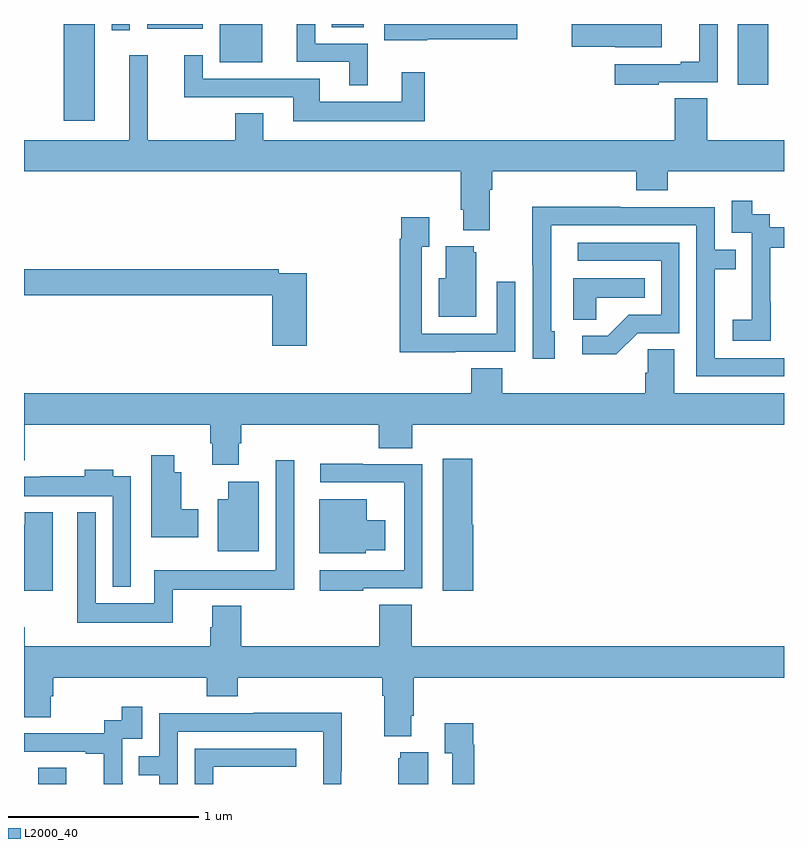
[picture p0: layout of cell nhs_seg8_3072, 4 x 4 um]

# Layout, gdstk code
import gdstk
lib = gdstk.Library(unit=1e-6, precision=1e-09)
def R(c, l, rs):  # rectangles x0, y0, x1, y1
    for r in rs: c.add(gdstk.rectangle(r[:2], r[2:], *l))
def P(c, l, *ps):  # polygons
    for p in ps: c.add(gdstk.Polygon(p, *l))
L2000_40 = (2000, 40)

nhs_seg8_3072 = lib.new_cell('nhs_seg8_3072')
R(nhs_seg8_3072, L2000_40, [(301.074,1155.9,301.222,1155.985), (301.208,1159.392,301.372,1159.9), (304.757,1159.581,304.918,1159.9), (302.03,1159.7,302.254,1159.9), (301.461,1159.866,301.557,1159.9), (301.649,1159.874,301.942,1159.9), (302.621,1159.882,302.788,1159.9)])
P(nhs_seg8_3072, L2000_40, [(304.34,1159.593),(304.65,1159.593),(304.65,1159.9),(304.553,1159.9),(304.553,1159.702),(304.457,1159.702),(304.457,1159.689),(304.11,1159.689),(304.11,1159.581),(304.34,1159.581)],
  [(304.357,1159.9),(303.882,1159.9),(303.882,1159.781),(304.113,1159.781),(304.113,1159.778),(304.357,1159.778)],
  [(303.123,1159.82),(303.595,1159.82),(303.595,1159.9),(302.897,1159.9),(302.897,1159.814),(303.123,1159.814)],
  [(302.809,1159.797),(302.532,1159.797),(302.532,1159.9),(302.435,1159.9),(302.435,1159.701),(302.711,1159.701),(302.711,1159.577),(302.809,1159.577)],
  [(303.109,1159.645),(302.987,1159.645),(302.987,1159.492),(302.557,1159.492),(302.557,1159.611),(301.941,1159.611),(301.941,1159.735),(301.844,1159.735),(301.844,1159.515),(302.417,1159.515),(302.417,1159.388),(303.109,1159.388)],
  [(303.451,1159.028),(303.464,1159.028),(303.464,1159.124),(304.223,1159.124),(304.223,1159.025),(304.388,1159.025),(304.388,1159.124),(305,1159.124),(305,1159.288),(304.595,1159.288),(304.595,1159.508),(304.424,1159.508),(304.424,1159.288),(302.26,1159.288),(302.26,1159.43),(302.113,1159.43),(302.113,1159.288),(301.652,1159.288),(301.652,1159.735),(301.553,1159.735),(301.553,1159.288),(301,1159.288),(301,1159.124),(303.299,1159.124),(303.299,1158.922),(303.311,1158.922),(303.311,1158.815),(303.451,1158.815)],
  [(304.929,1158.439),(304.928,1158.439),(304.928,1158.723),(305,1158.723),(305,1158.831),(304.926,1158.831),(304.926,1158.9),(304.834,1158.9),(304.834,1158.97),(304.725,1158.97),(304.725,1158.801),(304.83,1158.801),(304.83,1158.572),(304.829,1158.572),(304.829,1158.343),(304.731,1158.343),(304.731,1158.233),(304.929,1158.233)],
  [(305,1158.141),(304.635,1158.141),(304.635,1158.61),(304.745,1158.61),(304.745,1158.711),(304.635,1158.711),(304.635,1158.936),(304.139,1158.936),(304.139,1158.938),(303.676,1158.938),(303.676,1158.631),(303.678,1158.631),(303.678,1158.138),(303.793,1158.138),(303.793,1158.282),(303.774,1158.282),(303.774,1158.84),(304.539,1158.84),(304.539,1158.045),(305,1158.045)],
  [(303.269,1158.174),(303.585,1158.174),(303.585,1158.544),(303.489,1158.544),(303.489,1158.27),(303.093,1158.27),(303.093,1158.727),(303.133,1158.727),(303.133,1158.883),(302.985,1158.883),(302.985,1158.77),(302.977,1158.77),(302.977,1158.173),(303.269,1158.173)],
  [(304.23,1158.273),(304.449,1158.273),(304.449,1158.75),(303.915,1158.75),(303.915,1158.654),(304.353,1158.654),(304.353,1158.369),(304.184,1158.369),(304.073,1158.258),(303.939,1158.258),(303.939,1158.161),(304.117,1158.161)],
  [(303.379,1158.699),(303.368,1158.699),(303.368,1158.73),(303.221,1158.73),(303.221,1158.562),(303.182,1158.562),(303.182,1158.359),(303.379,1158.359)],
  [(302.489,1158.588),(302.342,1158.588),(302.342,1158.608),(301,1158.608),(301,1158.472),(302.306,1158.472),(302.306,1158.207),(302.489,1158.207)],
  [(304.011,1158.458),(304.268,1158.458),(304.268,1158.562),(303.89,1158.562),(303.89,1158.343),(304.011,1158.343)],
  [(302.131,1157.694),(302.144,1157.694),(302.144,1157.792),(302.867,1157.792),(302.867,1157.668),(303.044,1157.668),(303.044,1157.792),(305,1157.792),(305,1157.956),(304.423,1157.956),(304.423,1158.188),(304.284,1158.188),(304.284,1158.065),(304.271,1158.065),(304.271,1157.956),(303.518,1157.956),(303.518,1158.089),(303.353,1158.089),(303.353,1157.956),(301,1157.956),(301,1157.603),(301.004,1157.603),(301.004,1157.792),(301.979,1157.792),(301.979,1157.694),(301.991,1157.694),(301.991,1157.58),(302.131,1157.58)],
  [(301.918,1157.346),(301.828,1157.346),(301.828,1157.542),(301.792,1157.542),(301.792,1157.629),(301.67,1157.629),(301.67,1157.198),(301.918,1157.198)],
  [(303.364,1157.265),(303.359,1157.265),(303.359,1157.611),(303.203,1157.611),(303.203,1156.917),(303.364,1156.917)],
  [(301.784,1156.922),(302.422,1156.922),(302.422,1157.605),(302.325,1157.605),(302.325,1157.026),(301.686,1157.026),(301.686,1156.852),(301.377,1156.852),(301.377,1157.329),(301.28,1157.329),(301.28,1156.748),(301.784,1156.748)],
  [(302.786,1156.929),(303.096,1156.929),(303.096,1157.583),(302.783,1157.583),(302.783,1157.585),(302.559,1157.585),(302.559,1157.487),(302.999,1157.487),(302.999,1157.486),(303,1157.486),(303,1157.025),(302.556,1157.025),(302.556,1156.917),(302.786,1156.917)],
  [(301.563,1157.521),(301.471,1157.521),(301.471,1157.554),(301.319,1157.554),(301.319,1157.521),(301.087,1157.521),(301.087,1157.518),(301,1157.518),(301,1157.414),(301.467,1157.414),(301.467,1156.937),(301.563,1156.937)],
  [(302.236,1157.491),(302.075,1157.491),(302.075,1157.398),(302.021,1157.398),(302.021,1157.126),(302.236,1157.126)],
  [(302.799,1157.129),(302.902,1157.129),(302.902,1157.287),(302.803,1157.287),(302.803,1157.398),(302.555,1157.398),(302.555,1157.114),(302.799,1157.114)],
  [(301.15,1157.329),(301.004,1157.329),(301.004,1157.265),(301,1157.265),(301,1156.918),(301.15,1156.918)],
  [(303.037,1156.258),(303.05,1156.258),(303.05,1156.46),(305,1156.46),(305,1156.624),(303.041,1156.624),(303.041,1156.844),(302.87,1156.844),(302.87,1156.624),(302.144,1156.624),(302.144,1156.837),(301.991,1156.837),(301.991,1156.725),(301.979,1156.725),(301.979,1156.624),(301.004,1156.624),(301.004,1156.724),(301,1156.724),(301,1156.252),(301.141,1156.252),(301.141,1156.362),(301.154,1156.362),(301.154,1156.46),(301.961,1156.46),(301.961,1156.361),(302.126,1156.361),(302.126,1156.46),(302.885,1156.46),(302.885,1156.364),(302.897,1156.364),(302.897,1156.151),(303.037,1156.151)],
  [(301.52,1155.908),(301.518,1155.908),(301.518,1156.137),(301.623,1156.137),(301.623,1156.306),(301.515,1156.306),(301.515,1156.236),(301.422,1156.236),(301.422,1156.167),(301,1156.167),(301,1156.071),(301.325,1156.071),(301.325,1156.059),(301.421,1156.059),(301.421,1155.9),(301.52,1155.9)],
  [(301.809,1156.176),(302.574,1156.176),(302.574,1155.9),(302.67,1155.9),(302.67,1155.967),(302.673,1155.967),(302.673,1156.274),(302.209,1156.274),(302.209,1156.272),(301.713,1156.272),(301.713,1156.047),(301.603,1156.047),(301.603,1155.946),(301.713,1155.946),(301.713,1155.9),(301.809,1155.9)],
  [(303.371,1156.106),(303.364,1156.106),(303.364,1156.219),(303.215,1156.219),(303.215,1156.063),(303.255,1156.063),(303.255,1155.9),(303.371,1155.9)],
  [(301.995,1155.99),(302.434,1155.99),(302.434,1156.086),(301.899,1156.086),(301.899,1155.9),(301.995,1155.9)],
  [(303.127,1156.066),(302.981,1156.066),(302.981,1156.035),(302.969,1156.035),(302.969,1155.9),(303.127,1155.9)])

lib.write_gds('nhs_seg8_3072.gds')
